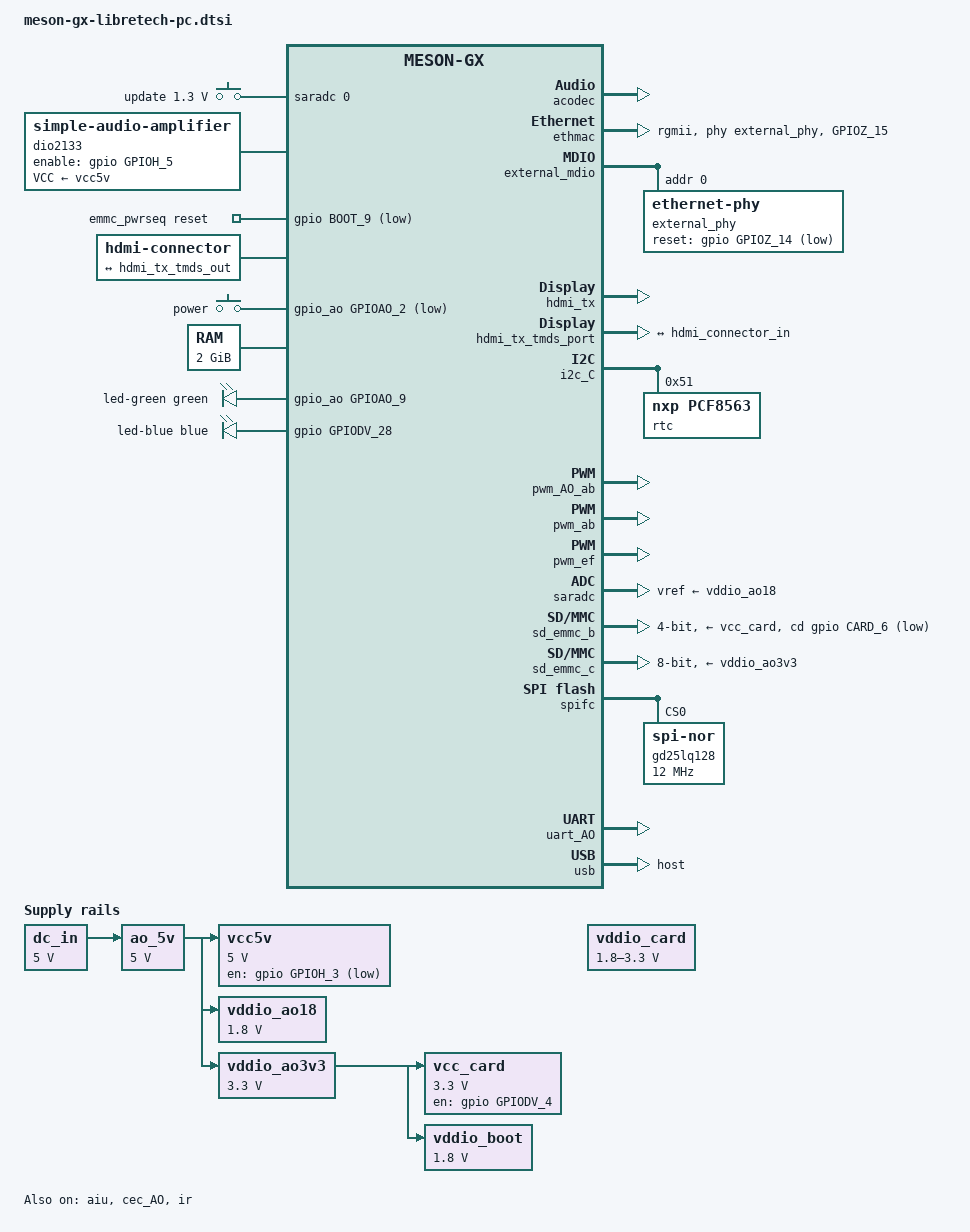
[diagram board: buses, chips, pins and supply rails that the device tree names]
// SPDX-License-Identifier: GPL-2.0
/*
 * Copyright (c) 2019 BayLibre SAS.
 * Author: Jerome Brunet <jbrunet@baylibre.com>
 */

/* Libretech Amlogic GX PC form factor - AKA: Tartiflette */

#include <dt-bindings/input/input.h>
#include <dt-bindings/leds/common.h>
#include <dt-bindings/sound/meson-aiu.h>

/ {
	adc-keys {
		compatible = "adc-keys";
		io-channels = <&saradc 0>;
		io-channel-names = "buttons";
		keyup-threshold-microvolt = <1800000>;

		button-update {
			label = "update";
			linux,code = <KEY_VENDOR>;
			press-threshold-microvolt = <1300000>;
		};
	};

	aliases {
		serial0 = &uart_AO;
		ethernet0 = &ethmac;
		spi0 = &spifc;
	};

	dio2133: analog-amplifier {
		compatible = "simple-audio-amplifier";
		sound-name-prefix = "AU2";
		VCC-supply = <&vcc5v>;
		enable-gpios = <&gpio GPIOH_5 GPIO_ACTIVE_HIGH>;
	};

	chosen {
		stdout-path = "serial0:115200n8";
	};

	cvbs-connector {
		compatible = "composite-video-connector";
		status = "disabled";

		port {
			cvbs_connector_in: endpoint {
				remote-endpoint = <&cvbs_vdac_out>;
			};
		};
	};

	emmc_pwrseq: emmc-pwrseq {
		compatible = "mmc-pwrseq-emmc";
		reset-gpios = <&gpio BOOT_9 GPIO_ACTIVE_LOW>;
	};

	hdmi-connector {
		compatible = "hdmi-connector";
		type = "a";

		port {
			hdmi_connector_in: endpoint {
				remote-endpoint = <&hdmi_tx_tmds_out>;
			};
		};
	};

	gpio-keys-polled {
		compatible = "gpio-keys-polled";
		poll-interval = <100>;

		power-button {
			label = "power";
			linux,code = <KEY_POWER>;
			gpios = <&gpio_ao GPIOAO_2 GPIO_ACTIVE_LOW>;
		};
	};

	memory@0 {
		device_type = "memory";
		reg = <0x0 0x0 0x0 0x80000000>;
	};

	ao_5v: regulator-ao_5v {
		compatible = "regulator-fixed";
		regulator-name = "AO_5V";
		regulator-min-microvolt = <5000000>;
		regulator-max-microvolt = <5000000>;
		vin-supply = <&dc_in>;
		regulator-always-on;
	};

	dc_in: regulator-dc_in {
		compatible = "regulator-fixed";
		regulator-name = "DC_IN";
		regulator-min-microvolt = <5000000>;
		regulator-max-microvolt = <5000000>;
		regulator-always-on;
	};

	leds {
		compatible = "gpio-leds";

		led-green {
			color = <LED_COLOR_ID_GREEN>;
			function = LED_FUNCTION_DISK_ACTIVITY;
			gpios = <&gpio_ao GPIOAO_9 GPIO_ACTIVE_HIGH>;
			linux,default-trigger = "disk-activity";
		};

		led-blue {
			color = <LED_COLOR_ID_BLUE>;
			function = LED_FUNCTION_STATUS;
			gpios = <&gpio GPIODV_28 GPIO_ACTIVE_HIGH>;
			linux,default-trigger = "heartbeat";
			panic-indicator;
		};
	};

	vcc_card: regulator-vcc_card {
		compatible = "regulator-fixed";
		regulator-name = "VCC_CARD";
		regulator-min-microvolt = <3300000>;
		regulator-max-microvolt = <3300000>;
		vin-supply = <&vddio_ao3v3>;

		gpio = <&gpio GPIODV_4 GPIO_ACTIVE_HIGH>;
		enable-active-high;
	};

	vcc5v: regulator-vcc5v {
		compatible = "regulator-fixed";
		regulator-name = "VCC5V";
		regulator-min-microvolt = <5000000>;
		regulator-max-microvolt = <5000000>;
		vin-supply = <&ao_5v>;

		gpio = <&gpio GPIOH_3 GPIO_OPEN_DRAIN>;
	};

	vddio_ao18: regulator-vddio_ao18 {
		compatible = "regulator-fixed";
		regulator-name = "VDDIO_AO18";
		regulator-min-microvolt = <1800000>;
		regulator-max-microvolt = <1800000>;
		vin-supply = <&ao_5v>;
		regulator-always-on;
	};

	vddio_ao3v3: regulator-vddio_ao3v3 {
		compatible = "regulator-fixed";
		regulator-name = "VDDIO_AO3V3";
		regulator-min-microvolt = <3300000>;
		regulator-max-microvolt = <3300000>;
		vin-supply = <&ao_5v>;
		regulator-always-on;
	};

	vddio_boot: regulator-vddio_boot {
		compatible = "regulator-fixed";
		regulator-name = "VDDIO_BOOT";
		regulator-min-microvolt = <1800000>;
		regulator-max-microvolt = <1800000>;
		vin-supply = <&vddio_ao3v3>;
		regulator-always-on;
	};

	vddio_card: regulator-vddio-card {
		compatible = "regulator-gpio";
		regulator-name = "VDDIO_CARD";
		regulator-min-microvolt = <1800000>;
		regulator-max-microvolt = <3300000>;

		gpios = <&gpio GPIODV_5 GPIO_ACTIVE_HIGH>;
		gpios-states = <0>;

		states = <3300000 0>,
			 <1800000 1>;

		regulator-settling-time-up-us = <200>;
		regulator-settling-time-down-us = <50000>;
	};

	sound {
		compatible = "amlogic,gx-sound-card";
		model = "GXL-LIBRETECH-S9XX-PC";
		audio-aux-devs = <&dio2133>;
		audio-widgets = "Speaker", "7J4-14 LEFT",
				"Speaker", "7J4-11 RIGHT";
		audio-routing = "AU2 INL", "ACODEC LOLN",
				"AU2 INR", "ACODEC LORN",
				"7J4-14 LEFT", "AU2 OUTL",
				"7J4-11 RIGHT", "AU2 OUTR";
		assigned-clocks = <&clkc CLKID_MPLL0>,
				  <&clkc CLKID_MPLL1>,
				  <&clkc CLKID_MPLL2>;
		assigned-clock-parents = <0>, <0>, <0>;
		assigned-clock-rates = <294912000>,
				       <270950400>,
				       <393216000>;
		status = "okay";

		dai-link-0 {
			sound-dai = <&aiu AIU_CPU CPU_I2S_FIFO>;
		};

		dai-link-1 {
			sound-dai = <&aiu AIU_CPU CPU_I2S_ENCODER>;
			dai-format = "i2s";
			mclk-fs = <256>;

			codec-0 {
				sound-dai = <&aiu AIU_HDMI CTRL_I2S>;
			};

			codec-1 {
				sound-dai = <&aiu AIU_ACODEC CTRL_I2S>;
			};
		};

		dai-link-2 {
			sound-dai = <&aiu AIU_HDMI CTRL_OUT>;

			codec-0 {
				sound-dai = <&hdmi_tx>;
			};
		};

		dai-link-3 {
			sound-dai = <&aiu AIU_ACODEC CTRL_OUT>;

			codec-0 {
				sound-dai = <&acodec>;
			};
		};
	};
};

&acodec {
	AVDD-supply = <&vddio_ao18>;
	status = "okay";
};

&aiu {
	status = "okay";
};

&cec_AO {
	pinctrl-0 = <&ao_cec_pins>;
	pinctrl-names = "default";
	hdmi-phandle = <&hdmi_tx>;
	status = "okay";
};

&cvbs_vdac_port {
	cvbs_vdac_out: endpoint {
		remote-endpoint = <&cvbs_connector_in>;
	};
};

&ethmac {
	pinctrl-0 = <&eth_pins>, <&eth_phy_irq_pins>;
	pinctrl-names = "default";
	phy-handle = <&external_phy>;
	amlogic,tx-delay-ns = <2>;
	phy-mode = "rgmii";
	status = "okay";
};

&external_mdio {
	external_phy: ethernet-phy@0 {
		reg = <0>;
		max-speed = <1000>;
		reset-assert-us = <10000>;
		reset-deassert-us = <30000>;
		reset-gpios = <&gpio GPIOZ_14 GPIO_ACTIVE_LOW>;
		interrupt-parent = <&gpio_intc>;
		interrupts = <25 IRQ_TYPE_LEVEL_LOW>;
	};
};

&pinctrl_periphs {
	/*
	 * Make sure the reset pin of the usb HUB is driven high to take
	 * it out of reset.
	 */
	usb1_rst_pins: usb1_rst_irq {
		mux {
			groups = "GPIODV_3";
			function = "gpio_periphs";
			bias-disable;
			output-high;
		};
	};

	/* Make sure the phy irq pin is properly configured as input */
	eth_phy_irq_pins: eth_phy_irq {
		mux {
			groups = "GPIOZ_15";
			function = "gpio_periphs";
			bias-disable;
			output-disable;
		};
	};
};

&hdmi_tx {
	pinctrl-0 = <&hdmi_hpd_pins>, <&hdmi_i2c_pins>;
	pinctrl-names = "default";
	hdmi-supply = <&vcc5v>;
	status = "okay";
};

&hdmi_tx_tmds_port {
	hdmi_tx_tmds_out: endpoint {
		remote-endpoint = <&hdmi_connector_in>;
	};
};

&ir {
	pinctrl-0 = <&remote_input_ao_pins>;
	pinctrl-names = "default";
	status = "okay";
};

&i2c_C {
	pinctrl-0 = <&i2c_c_dv18_pins>;
	pinctrl-names = "default";
	status = "okay";

	rtc: rtc@51 {
		reg = <0x51>;
		compatible = "nxp,pcf8563";
		#clock-cells = <0>;
		clock-output-names = "rtc_clkout";
	};
};

&pwm_AO_ab {
	pinctrl-0 = <&pwm_ao_a_3_pins>;
	pinctrl-names = "default";
	clocks = <&clkc CLKID_FCLK_DIV4>;
	clock-names = "clkin0";
	status = "okay";
};

&pwm_ab {
	pinctrl-0 = <&pwm_b_pins>;
	pinctrl-names = "default";
	clocks = <&clkc CLKID_FCLK_DIV4>;
	clock-names = "clkin0";
	status = "okay";
};

&pwm_ef {
	pinctrl-0 = <&pwm_e_pins>, <&pwm_f_clk_pins>;
	pinctrl-names = "default";
	clocks = <&clkc CLKID_FCLK_DIV4>;
	clock-names = "clkin0";
	status = "okay";
};

&saradc {
	vref-supply = <&vddio_ao18>;
	status = "okay";
};

/* SD card */
&sd_emmc_b {
	pinctrl-0 = <&sdcard_pins>;
	pinctrl-1 = <&sdcard_clk_gate_pins>;
	pinctrl-names = "default", "clk-gate";

	bus-width = <4>;
	cap-sd-highspeed;
	sd-uhs-sdr12;
	sd-uhs-sdr25;
	sd-uhs-sdr50;
	sd-uhs-ddr50;
	max-frequency = <200000000>;
	disable-wp;

	cd-gpios = <&gpio CARD_6 GPIO_ACTIVE_LOW>;

	vmmc-supply = <&vcc_card>;
	vqmmc-supply = <&vddio_card>;

	status = "okay";
};

/* eMMC */
&sd_emmc_c {
	pinctrl-0 = <&emmc_pins>;
	pinctrl-1 = <&emmc_clk_gate_pins>;
	pinctrl-names = "default", "clk-gate";

	bus-width = <8>;
	cap-mmc-highspeed;
	mmc-ddr-1_8v;
	mmc-hs200-1_8v;
	max-frequency = <200000000>;
	disable-wp;

	mmc-pwrseq = <&emmc_pwrseq>;
	vmmc-supply = <&vddio_ao3v3>;
	vqmmc-supply = <&vddio_boot>;

	status = "okay";
};

&spifc {
	pinctrl-0 = <&nor_pins>;
	pinctrl-names = "default";
	status = "okay";

	gd25lq128: spi-flash@0 {
		compatible = "jedec,spi-nor";
		#address-cells = <1>;
		#size-cells = <1>;
		reg = <0>;
		spi-max-frequency = <12000000>;
	};
};

&uart_AO {
	pinctrl-0 = <&uart_ao_a_pins>;
	pinctrl-names = "default";
	status = "okay";
};

&usb {
	status = "okay";
	dr_mode = "host";
};

&usb2_phy0 {
	pinctrl-0 = <&usb1_rst_pins>;
	pinctrl-names = "default";
	phy-supply = <&vcc5v>;
};

&usb2_phy1 {
	phy-supply = <&vcc5v>;
};
